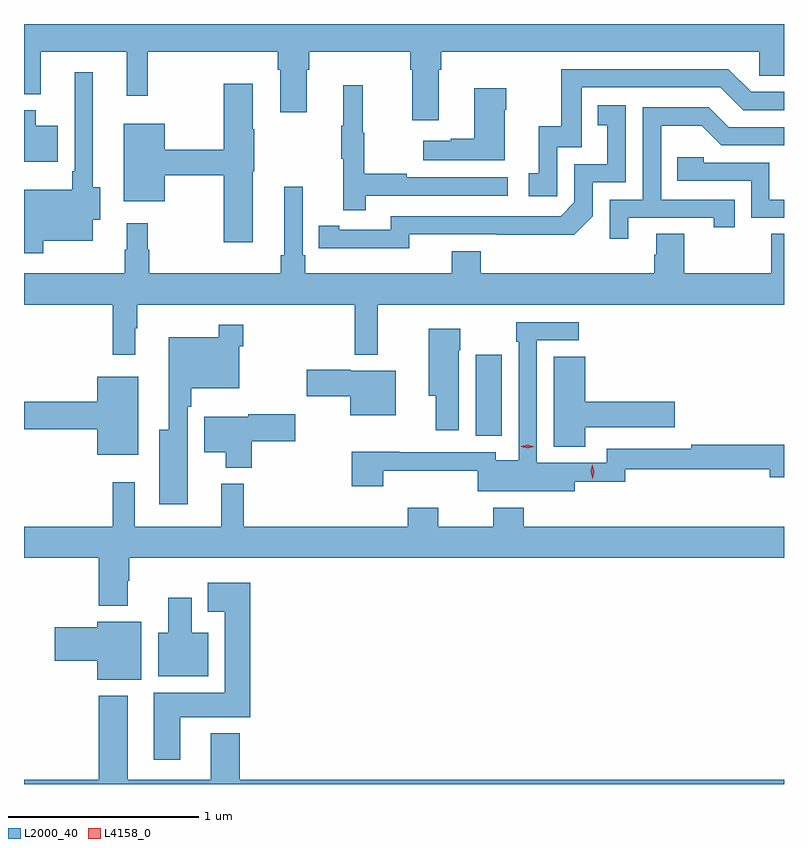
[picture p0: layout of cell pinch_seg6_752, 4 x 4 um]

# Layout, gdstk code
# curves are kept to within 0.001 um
import gdstk
lib = gdstk.Library(unit=1e-6, precision=1e-09)
def R(c, l, rs):  # rectangles x0, y0, x1, y1
    for r in rs: c.add(gdstk.rectangle(r[:2], r[2:], *l))
def P(c, l, *ps):  # polygons
    for p in ps: c.add(gdstk.Polygon(p, *l))
L2000_40 = (2000, 40)
L4158_0 = (4158, 0)

pinch_seg6_752 = lib.new_cell('pinch_seg6_752')
R(pinch_seg6_752, L2000_40, [(328.52,985.273,328.657,985.699)])
P(pinch_seg6_752, L2000_40, [(328.327,987.2),(328.34,987.2),(328.34,987.296),(330.012,987.296),(330.012,987.169),(330.143,987.169),(330.143,987.441),(326.143,987.441),(326.143,987.071),(326.231,987.071),(326.231,987.296),(326.684,987.296),(326.684,987.063),(326.794,987.063),(326.794,987.296),(327.479,987.296),(327.479,987.2),(327.491,987.2),(327.491,986.976),(327.631,986.976),(327.631,987.2),(327.644,987.2),(327.644,987.296),(328.175,987.296),(328.175,987.2),(328.187,987.2),(328.187,986.934),(328.327,986.934)],
  [(328.95,986.793),(329.079,986.793),(329.079,987.108),(329.808,987.108),(329.928,986.988),(330.143,986.988),(330.143,987.084),(329.97,987.084),(329.85,987.204),(328.971,987.204),(328.971,986.902),(328.853,986.902),(328.853,986.655),(328.8,986.655),(328.8,986.535),(328.95,986.535)],
  [(326.245,986.3),(326.506,986.3),(326.506,986.411),(326.545,986.411),(326.545,986.582),(326.506,986.582),(326.506,987.187),(326.409,987.187),(326.409,986.665),(326.397,986.665),(326.397,986.569),(326.143,986.569),(326.143,986.235),(326.245,986.235)],
  [(327.346,986.667),(327.354,986.667),(327.354,986.888),(327.346,986.888),(327.346,987.127),(327.193,987.127),(327.193,986.78),(326.884,986.78),(326.884,986.917),(326.669,986.917),(326.669,986.507),(326.884,986.507),(326.884,986.644),(327.193,986.644),(327.193,986.292),(327.346,986.292)],
  [(327.941,986.538),(328.69,986.538),(328.69,986.634),(328.157,986.634),(328.157,986.654),(327.934,986.654),(327.934,986.868),(327.926,986.868),(327.926,987.118),(327.824,987.118),(327.824,986.905),(327.813,986.905),(327.813,986.731),(327.824,986.731),(327.824,986.46),(327.941,986.46)],
  [(328.672,986.99),(328.68,986.99),(328.68,987.103),(328.514,987.103),(328.514,986.837),(328.388,986.837),(328.388,986.827),(328.245,986.827),(328.245,986.723),(328.672,986.723)],
  [(328.17,986.334),(329.038,986.333),(329.136,986.43),(329.136,986.607),(329.31,986.607),(329.31,987.013),(329.164,987.013),(329.164,986.907),(329.213,986.907),(329.213,986.703),(329.04,986.703),(329.04,986.502),(328.968,986.43),(328.074,986.43),(328.074,986.358),(327.802,986.358),(327.802,986.378),(327.694,986.378),(327.694,986.262),(328.17,986.261)],
  [(329.323,986.421),(329.774,986.421),(329.774,986.37),(329.885,986.37),(329.885,986.517),(329.496,986.517),(329.496,986.906),(329.71,986.906),(329.814,986.802),(330.143,986.802),(330.143,986.898),(329.851,986.898),(329.746,987.003),(329.4,987.003),(329.4,986.517),(329.226,986.517),(329.226,986.31),(329.323,986.31)],
  [(326.32,986.905),(326.206,986.905),(326.206,986.986),(326.143,986.986),(326.143,986.717),(326.32,986.717)],
  [(330.143,986.517),(330.066,986.517),(330.066,986.712),(329.721,986.712),(329.721,986.739),(329.581,986.739),(329.581,986.616),(329.97,986.616),(329.97,986.421),(330.143,986.421)],
  [(326.728,985.841),(326.74,985.841),(326.74,985.964),(327.884,985.964),(327.884,985.701),(328.004,985.701),(328.004,985.964),(330.143,985.964),(330.143,986.336),(330.076,986.336),(330.076,986.128),(329.619,986.128),(329.619,986.336),(329.471,986.336),(329.471,986.226),(329.459,986.226),(329.459,986.128),(328.547,986.128),(328.547,986.245),(328.394,986.245),(328.394,986.128),(327.623,986.128),(327.623,986.224),(327.609,986.224),(327.609,986.584),(327.512,986.584),(327.512,986.224),(327.493,986.224),(327.493,986.128),(326.801,986.128),(326.801,986.252),(326.794,986.252),(326.794,986.392),(326.684,986.392),(326.684,986.252),(326.673,986.252),(326.673,986.128),(326.143,986.128),(326.143,985.964),(326.611,985.964),(326.611,985.701),(326.728,985.701)],
  [(329.041,985.033),(329.307,985.033),(329.307,985.098),(330.068,985.098),(330.068,985.055),(330.143,985.055),(330.143,985.226),(329.656,985.226),(329.656,985.206),(329.211,985.206),(329.211,985.131),(328.842,985.131),(328.842,985.776),(329.062,985.776),(329.062,985.872),(328.734,985.872),(328.734,985.769),(328.746,985.769),(328.746,985.144),(328.626,985.144),(328.626,985.188),(328.117,985.188),(328.117,985.19),(327.869,985.19),(327.869,985.008),(328.034,985.008),(328.034,985.091),(328.53,985.091),(328.53,984.983),(329.041,984.983)],
  [(327.004,985.427),(327.023,985.427),(327.023,985.523),(327.276,985.523),(327.276,985.745),(327.296,985.745),(327.296,985.858),(327.168,985.858),(327.168,985.792),(326.906,985.792),(326.906,985.306),(326.855,985.306),(326.855,984.914),(327.004,984.914)],
  [(328.432,985.724),(328.44,985.724),(328.44,985.837),(328.274,985.837),(328.274,985.484),(328.31,985.484),(328.31,985.302),(328.432,985.302)],
  [(329.098,985.319),(329.569,985.319),(329.569,985.454),(329.098,985.454),(329.098,985.691),(328.931,985.691),(328.931,985.217),(329.098,985.217)],
  [(328.099,985.615),(327.864,985.615),(327.864,985.622),(327.63,985.622),(327.63,985.481),(327.86,985.481),(327.86,985.382),(328.099,985.382)],
  [(326.743,985.585),(326.528,985.585),(326.528,985.454),(326.143,985.454),(326.143,985.307),(326.528,985.307),(326.528,985.175),(326.743,985.175)],
  [(327.341,985.246),(327.571,985.246),(327.571,985.388),(327.324,985.388),(327.324,985.375),(327.092,985.375),(327.092,985.187),(327.206,985.187),(327.206,985.106),(327.341,985.106)],
  [(330.143,984.796),(328.772,984.796),(328.772,984.895),(328.612,984.895),(328.612,984.796),(328.323,984.796),(328.323,984.895),(328.163,984.895),(328.163,984.796),(327.299,984.796),(327.299,985.021),(327.182,985.021),(327.182,984.796),(326.727,984.796),(326.727,985.03),(326.611,985.03),(326.611,984.796),(326.143,984.796),(326.143,984.632),(326.537,984.632),(326.537,984.38),(326.689,984.38),(326.689,984.512),(326.697,984.512),(326.697,984.632),(330.143,984.632)],
  [(326.965,983.792),(327.335,983.792),(327.335,984.499),(327.11,984.499),(327.11,984.347),(327.2,984.347),(327.2,983.92),(326.825,983.92),(326.825,983.568),(326.965,983.568)],
  [(327.112,984.238),(327.025,984.238),(327.025,984.421),(326.903,984.421),(326.903,984.238),(326.849,984.238),(326.849,984.008),(327.112,984.008)],
  [(326.761,984.295),(326.528,984.295),(326.528,984.267),(326.304,984.267),(326.304,984.089),(326.528,984.089),(326.528,983.99),(326.761,983.99)],
  [(330.143,983.464),(327.278,983.464),(327.278,983.707),(327.125,983.707),(327.125,983.464),(326.689,983.464),(326.689,983.905),(326.537,983.905),(326.537,983.464),(326.143,983.464),(326.143,983.441),(330.143,983.441)])
P(pinch_seg6_752, L4158_0, [(329.136,985.048),(329.125,985.084),(329.134,985.12),(329.134,985.12),(329.134,985.12),(329.145,985.084),(329.137,985.048),(329.137,985.048)],
  [(328.793,985.207),(328.759,985.217),(328.759,985.218),(328.759,985.218),(328.794,985.227),(328.828,985.216),(328.828,985.216),(328.828,985.216)])

lib.write_gds('pinch_seg6_752.gds')
